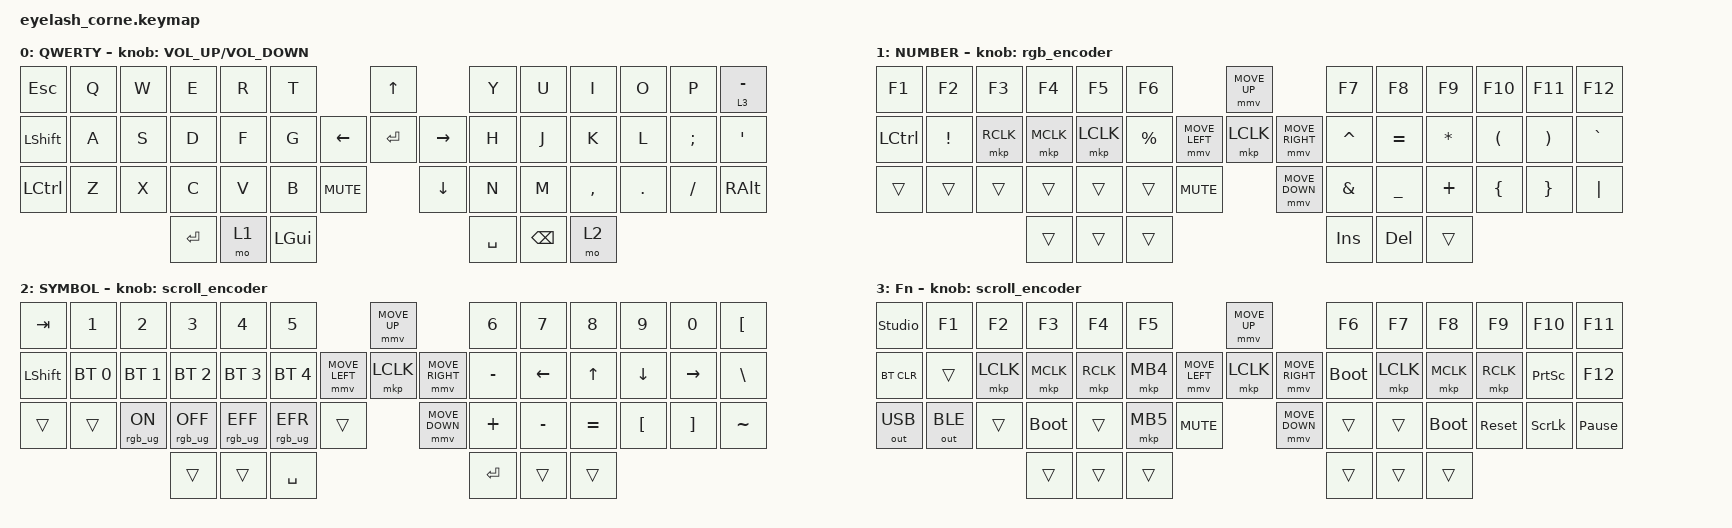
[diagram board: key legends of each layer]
#include <input/processors.dtsi>
#include <behaviors.dtsi>
#include <dt-bindings/zmk/bt.h>
#include <dt-bindings/zmk/keys.h>
#include <dt-bindings/zmk/mouse.h>
#include <dt-bindings/zmk/outputs.h>
#include <dt-bindings/zmk/rgb.h>

/*

   &mmv_input_listener {
       input-processors = <&zip_xy_scaler 2 1>;
   };

   &msc_input_listener {
       input-processors = <&zip_xy_scaler 2 1>;
   };

 */

#define ZMK_MOUSE_DEFAULT_MOVE_VAL 1200  // 600
#define ZMK_MOUSE_DEFAULT_SCRL_VAL 20    // 10

/ {
    behaviors {
        td0: td0 {
            compatible = "zmk,behavior-tap-dance";
            display-name = "Shift/Caps Lock Tap Dance";
            #binding-cells = <0>;
            bindings = <&kp LEFT_SHIFT>, <&kp CAPS>;
        };
    };

    rgb_encoder: rgb_encoder {
        compatible = "zmk,behavior-sensor-rotate";
        #sensor-binding-cells = <0>;
        bindings = <&rgb_ug RGB_BRI>, <&rgb_ug RGB_BRD>;
    };

    scroll_encoder: scroll_encoder {
        compatible = "zmk,behavior-sensor-rotate";
        #sensor-binding-cells = <0>;
        bindings = <&msc SCRL_DOWN>, <&msc SCRL_UP>;

        tap-ms = <30>;
    };

    keymap {
        compatible = "zmk,keymap";

        default_layer {
            display-name = "QWERTY";
            bindings = <
&kp ESC         &kp Q  &kp W  &kp E      &kp R  &kp T                                 &kp UP                &kp Y      &kp U          &kp I      &kp O    &kp P     &lt 3 MINUS
&kp LEFT_SHIFT  &kp A  &kp S  &kp D      &kp F  &kp G                       &kp LEFT  &kp ENTER  &kp RIGHT  &kp H      &kp J          &kp K      &kp L    &kp SEMI  &kp SQT
&kp LCTRL       &kp Z  &kp X  &kp C      &kp V  &kp B         &kp C_MUTE              &kp DOWN              &kp N      &kp M          &kp COMMA  &kp DOT  &kp FSLH  &kp RIGHT_ALT
                              &kp ENTER  &mo 1  &kp LEFT_GUI                                                &kp SPACE  &kp BACKSPACE  &mo 2
            >;

            sensor-bindings = <&inc_dec_kp C_VOLUME_UP C_VOLUME_DOWN>;
        };

        lower_layer {
            display-name = "NUMBER";
            bindings = <
&kp F1            &kp F2    &kp F3     &kp F4     &kp F5     &kp F6                                   &mmv MOVE_UP                     &kp F7     &kp F8          &kp F9     &kp F10   &kp F11   &kp F12
&kp LEFT_CONTROL  &kp EXCL  &mkp RCLK  &mkp MCLK  &mkp LCLK  &kp PRCNT                &mmv MOVE_LEFT  &mkp LCLK       &mmv MOVE_RIGHT  &kp CARET  &kp EQUAL       &kp ASTRK  &kp LPAR  &kp RPAR  &kp GRAVE
&trans            &trans    &trans     &trans     &trans     &trans     &kp C_MUTE                    &mmv MOVE_DOWN                   &kp AMPS   &kp UNDERSCORE  &kp PLUS   &kp LBRC  &kp RBRC  &kp PIPE
                                       &trans     &trans     &trans                                                                    &kp INS    &kp DEL         &trans
            >;

            sensor-bindings = <&rgb_encoder>;
        };

        raise_layer {
            display-name = "SYMBOL";
            bindings = <
&kp TAB         &kp NUMBER_1  &kp NUMBER_2    &kp NUMBER_3     &kp NUMBER_4     &kp NUMBER_5                               &mmv MOVE_UP                     &kp NUMBER_6  &kp N7          &kp N8        &kp NUMBER_9    &kp NUMBER_0     &kp LEFT_BRACKET
&kp LEFT_SHIFT  &bt BT_SEL 0  &bt BT_SEL 1    &bt BT_SEL 2     &bt BT_SEL 3     &bt BT_SEL 4               &mmv MOVE_LEFT  &mkp LCLK       &mmv MOVE_RIGHT  &kp MINUS     &kp LEFT_ARROW  &kp UP_ARROW  &kp DOWN_ARROW  &kp RIGHT_ARROW  &kp BACKSLASH
&trans          &trans        &rgb_ug RGB_ON  &rgb_ug RGB_OFF  &rgb_ug RGB_EFF  &rgb_ug RGB_EFR  &trans                    &mmv MOVE_DOWN                   &kp PLUS      &kp MINUS       &kp EQUAL     &kp LBKT        &kp RBKT         &kp TILDE
                                              &trans           &trans           &kp SPACE                                                                   &kp RET       &trans          &trans
            >;

            sensor-bindings = <&scroll_encoder>;
        };

        layer_3 {
            display-name = "Fn";
            bindings = <
&studio_unlock  &kp F1        &kp F2     &kp F3       &kp F4     &kp F5                                  &mmv MOVE_UP                     &kp F6       &kp F7     &kp F8       &kp F9      &kp F10          &kp F11
&bt BT_CLR      &trans        &mkp LCLK  &mkp MCLK    &mkp RCLK  &mkp MB4                &mmv MOVE_LEFT  &mkp LCLK       &mmv MOVE_RIGHT  &bootloader  &mkp LCLK  &mkp MCLK    &mkp RCLK   &kp PRINTSCREEN  &kp F12
&out OUT_USB    &out OUT_BLE  &trans     &bootloader  &trans     &mkp MB5  &kp C_MUTE                    &mmv MOVE_DOWN                   &trans       &trans     &bootloader  &sys_reset  &kp SCROLLLOCK   &kp PAUSE_BREAK
                                         &trans       &trans     &trans                                                                   &trans       &trans     &trans
            >;

            sensor-bindings = <&scroll_encoder>;
        };
    };
};
